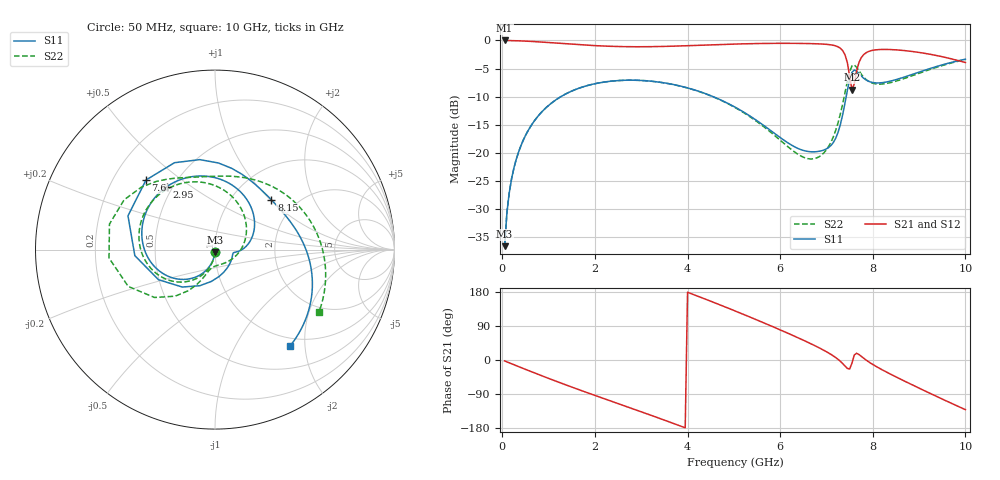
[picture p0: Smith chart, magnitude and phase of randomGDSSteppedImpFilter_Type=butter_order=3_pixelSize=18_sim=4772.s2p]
! freq	dB(S11)	phase(S11)	dB(S12)	phase(S12)
!  dB(S21)	phase(S21)	dB(S22)	phase(S22)
!S-par simulation data
#  GHz  S  DB  R 50
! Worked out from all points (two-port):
!   200 points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, 50 MHz to 10 GHz, reference 50 ohm
!   highest |S21| = 0.00 dB at 50 MHz (marker M1); lowest = -8.8 dB at 7.55 GHz (marker M2)
!   |S21| within 3 dB of the highest: start of sweep to 7.417 GHz; 7.757 GHz to 9.558 GHz (1.801 GHz wide, 20.8 % of centre)
!   lowest |S11| = -36.6 dB at 50 MHz (marker M3), VSWR 1.03, Z = 49.9 - j1.47 ohm
!   |S11| at or under -10 dB: start of sweep to 1.266 GHz; 4.553 GHz to 7.426 GHz (2.873 GHz wide, 48 % of centre)
!   |S22| runs from -36.6 to -3.4 dB; largest |S21 - S12| = 0
!   S11 on the Smith chart (normalised r, x): 50 MHz: 1.00, -0.03; 2.95 GHz: 0.47, +0.41; 7.6 GHz: 0.34, +0.37; 8.15 GHz: 1.51, +1.01; 10 GHz: 0.85, -1.71
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0.05  -36.61 -92.5  -0.00 -2.5  -0.00 -2.5  -36.61 -92.3
0.1  -30.61 -95.3  -0.01 -5.0  -0.01 -5.0  -30.60 -94.8
0.2  -24.65 -100.7  -0.03 -10.0  -0.03 -10.0  -24.64 -99.8
0.5  -16.94 -116.4  -0.12 -24.7  -0.12 -24.7  -16.93 -114.0
1.15  -10.61 -148.9  -0.46 -55.5  -0.46 -55.5  -10.61 -143.4
1.75  -8.24 -177.5  -0.81 -82.5  -0.81 -82.5  -8.24 -168.9
2.95  -7.10 127.4  -1.13 -134.5  -1.13 -134.5  -7.10 142.6
3.4  -7.43 106.5  -1.08 -154.2  -1.08 -154.2  -7.44 124.3
4.25  -9.07 66.3  -0.86 167.1  -0.86 167.1  -9.10 87.8
5.05  -11.98 29.3  -0.64 128.3  -0.64 128.3  -12.06 49.3
5.9  -16.67 -0.9  -0.52 84.9  -0.52 84.9  -17.05 -2.4
6.7  -19.82 -13.3  -0.57 40.8  -0.57 40.8  -21.08 -77.0
7  -19.29 -33.4  -0.70 21.8  -0.70 21.8  -19.45 -101.5
7.25  -16.36 -81.7  -1.14 1.7  -1.14 1.7  -14.65 -114.1
7.45  -8.95 -152.0  -3.90 -22.2  -3.90 -22.2  -7.33 -141.7
7.55  -5.68 158.8  -8.76 -8.8  -8.76 -8.8  -4.55 -175.4
7.6  -5.26 134.8  -7.74 13.0  -7.74 13.0  -4.37 166.4
7.8  -6.71 78.3  -2.55 4.9  -2.55 4.9  -6.50 123.8
8.15  -7.55 41.4  -1.62 -22.3  -1.62 -22.3  -7.78 92.2
8.35  -7.30 28.6  -1.61 -35.3  -1.61 -35.3  -7.57 77.8
9.1  -5.36 -9.4  -2.26 -80.1  -2.26 -80.1  -5.55 26.7
10  -3.34 -52.2  -3.93 -131.0  -3.93 -131.0  -3.41 -30.8
